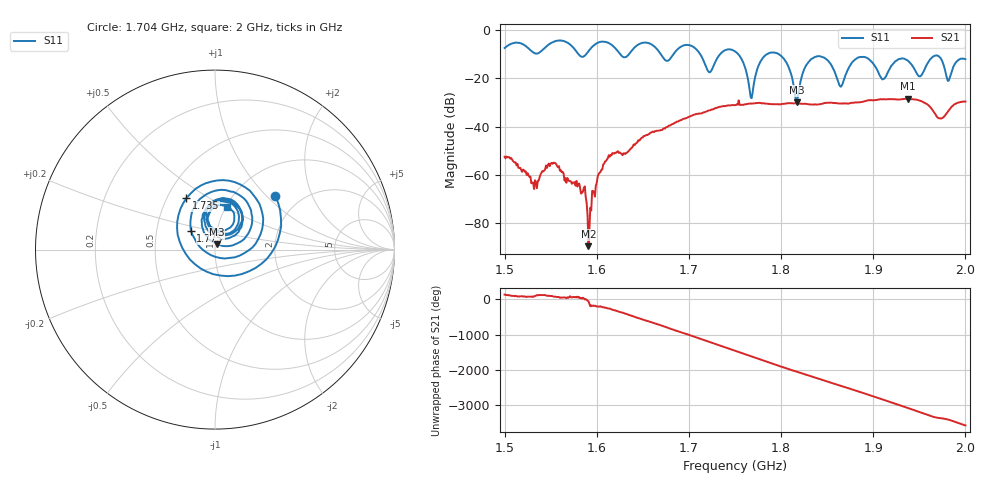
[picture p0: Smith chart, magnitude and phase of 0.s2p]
! NanoVNA-App by SYSJOINT et al v1.1.209 (+OD18)
! Date: 2026-01-21 14:41:34
! Start: 1,5GHz Stop: 2GHz Points: 501
! S-Parameter data: F S11 S21 S12 S22
# Hz S RI R 50
!  Frequency  S11_Real  S11_Imag  S21_Real  S21_Imag  S12_Real  S12_Imag  S22_Real  S22_Imag
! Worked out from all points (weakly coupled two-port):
!   501 points, 1.5 GHz to 2 GHz, reference 50 ohm
!   highest |S21| = -28.51 dB at 1.938 GHz (marker M1); lowest = -89.4 dB at 1.591 GHz (marker M2)
!   lowest |S11| = -29.9 dB at 1.817 GHz (marker M3), VSWR 1.07, Z = 50.9 + j3.09 ohm
!   |S11| at or under -10 dB: 1.712 GHz to 1.734 GHz (22.3 MHz wide, 1.29 % of centre); 1.753 GHz to 1.785 GHz (32.21 MHz wide, 1.82 % of centre); 1.797 GHz to end of sweep (the widest 3 of 6)
!   S12 and S22 are empty: the file has one direction only
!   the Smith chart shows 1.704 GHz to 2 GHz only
!   S11 on the Smith chart (normalised r, x): 1.704 GHz: 1.51, +1.13; 1.735 GHz: 0.63, +0.40; 1.775 GHz: 0.75, +0.16; 2 GHz: 1.02, +0.51
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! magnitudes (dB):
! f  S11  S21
! 1.5 GHz  -7.6  -52.5
! 1.584 GHz  -11.2  -67.3
! 1.591 GHz  -8.9  -89.4
! 1.611 GHz  -5.3  -53.6
! 1.667 GHz  -8.9  -41.7
! 1.704 GHz  -7.0  -35.3
! 1.722 GHz  -17.6  -33.4
! 1.735 GHz  -9.7  -31.8
! 1.75 GHz  -9.0  -31.2
! 1.767 GHz  -27.9  -30.6
! 1.775 GHz  -15.4  -30.2
! 1.799 GHz  -10.6  -30.9
! 1.817 GHz  -29.9  -30.5
! 1.834 GHz  -11.9  -30.9
! 1.865 GHz  -23.6  -30.5
! 1.885 GHz  -11.4  -30.0
! 1.917 GHz  -16.7  -28.7
! 1.938 GHz  -12.9  -28.5
! 1.951 GHz  -19.3  -29.4
! 1.97 GHz  -10.8  -36.3
! 1.982 GHz  -21.0  -33.3
! 2 GHz  -12.2  -29.7
